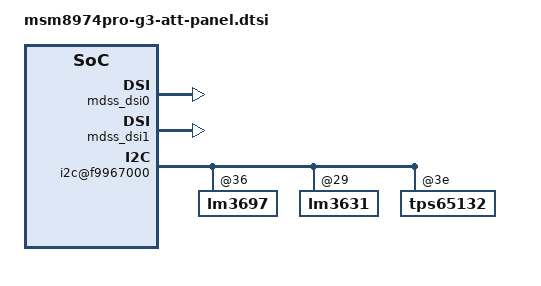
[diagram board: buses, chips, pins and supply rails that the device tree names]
/* Copyright (c) 2012, Code Aurora Forum. All rights reserved.
 *
 * This program is free software; you can redistribute it and/or modify
 * it under the terms of the GNU General Public License version 2 and
 * only version 2 as published by the Free Software Foundation.
 *
 * This program is distributed in the hope that it will be useful,
 * but WITHOUT ANY WARRANTY; without even the implied warranty of
 * MERCHANTABILITY or FITNESS FOR A PARTICULAR PURPOSE.  See the
 * GNU General Public License for more details.
 */

&mdss_dsi0 {
	status = "ok";
	lge,num-of-dsv-enable-gpio = <
		0 0  // evb1  = 0 ; evb2  = 0
		0 0  // rev_a = 0 ; rev_b = 0
		1 1  // rev_c = 1 ; rev_d = 1
		0 1  // rev_e = 0 ; rev_f = 1
		1 1  // rev_g = 1 ; rev_h = 1
		2 2  // rev_10 = 1; rev_11 = 1
		2     // rev_12 = 1
		>;
};

&mdss_dsi1 {
	status = "ok";
	qcom,platform-enable-gpio = <&msmgpio 58 1>, // HW_REV_EVB1
		<&msmgpio 58 1>, // HW_REV_EVB2
		<&msmgpio 91 1>, // HW_REV_A
		<&msmgpio 91 1>, // HW_REV_B
		<&msmgpio 56 1>, // HW_REV_C
		<&msmgpio 56 1>, // HW_REV_D
		<&msmgpio 91 1>, // HW_REV_E
		<&msmgpio 56 1>, // HW_REV_F
		<&msmgpio 56 1>, // HW_REV_G
		<&msmgpio 56 1>, // HW_REV_H
		<&msmgpio 56 1>, // HW_REV_1.0
		<&msmgpio 56 1>, // HW_REV_1.1
		<&msmgpio 56 1>; // HW_REV_1.2

	lge,num-of-dsv-enable-gpio = <
		0 0  // evb1  = 0 ; evb2  = 0
		0 0  // rev_a = 0 ; rev_b = 0
		1 1  // rev_c = 1 ; rev_d = 1
		0 1  // rev_e = 0 ; rev_f = 1
		1 1  // rev_g = 1 ; rev_h = 1
		2 2  // rev_10 = 1; rev_11 = 1
		2     // rev_12 = 1
		>;
};

&soc {
	i2c@f9967000 {
		lm3697@36{
			status = "ok";
			revision = "evb1...evb2","rev_c...rev_d","rev_f...";
			lcd_bl {
				lge,hvled = <
					23 12  // evb1 = hvled2, hvled3 ; evb2 = hvled 1, hvled2
					12 12  // rev_a = hvled 1, hvled2 ; rev_b = hvled 1, hvled2
					12 12  // rev_c = hvled 1, hvled2 ; rev_d = hvled 1, hvled2
					12 12  // rev_e = hvled 1, hvled2 ; rev_f = hvled 1, hvled2
					12 12  // rev_g = hvled 1, hvled2 ; rev_h = hvled 1, hvled2
					12 12  // rev_10 = hvled 1, hvled2 ; rev_11 = hvled 1, hvled2
					12     // rev_12 = hvled 1, hvled2
					>;
				blmap = <
					0 2 2 3 4 4 5 6 6 7 8 8 9 10 10 11 12 12 13 14 14 15 16 16
					17 18 18 19 19 20 21 21 22 23 23 24 25 25 26 27 27 28 29 29
					30 31 31 32 33 33 34 34 34 35 35 35 35 35 35 36 36 36 36 37
					38 39 40 40 41 42 43 44 45 47 48 50 51 53 54 56 57 59 60 62
					64 67 69 71 73 75 78 80 82 85 89 92 96 99 102 106 109 113
					116 120 123 127 131 134 138 141 145 149 152 156 161 167 172
					178 183 189 194 200 205 210 215 220 225 230 235 239 244 249
					254 259 264 271 277 284 291 297 304 311 317 324 332 340 348
					356 364 371 379 387 395 403 411 420 429 438 447 457 466 475
					484 493 502 511 520 529 538 547 555 564 573 582 591 600 612
					625 637 650 662 675 687 700 712 725 737 750 762 775 788 800
					813 825 838 851 863 876 888 901 913 926 938 951 963 976 990
					1004 1018 1032 1046 1060 1074 1088 1116 1124 1130 1146 1163
					1179 1196 1212 1228 1245 1261 1278 1294 1312 1331 1349 1368
					1386 1404 1423 1441 1460 1478 1498 1518 1539 1559 1579 1599
					1619 1640 1660 1680 1704 1727 1751 1774 1798 1821 1845 1868
					1892
					>;
			};
		};
		lm3631@29{
			status = "ok";
			revision = "rev_a...rev_b","rev_e";
		};
		tps65132@3e {
			status = "ok";
			revision = "rev_c...rev_d","rev_f...";
		};
     };
};
